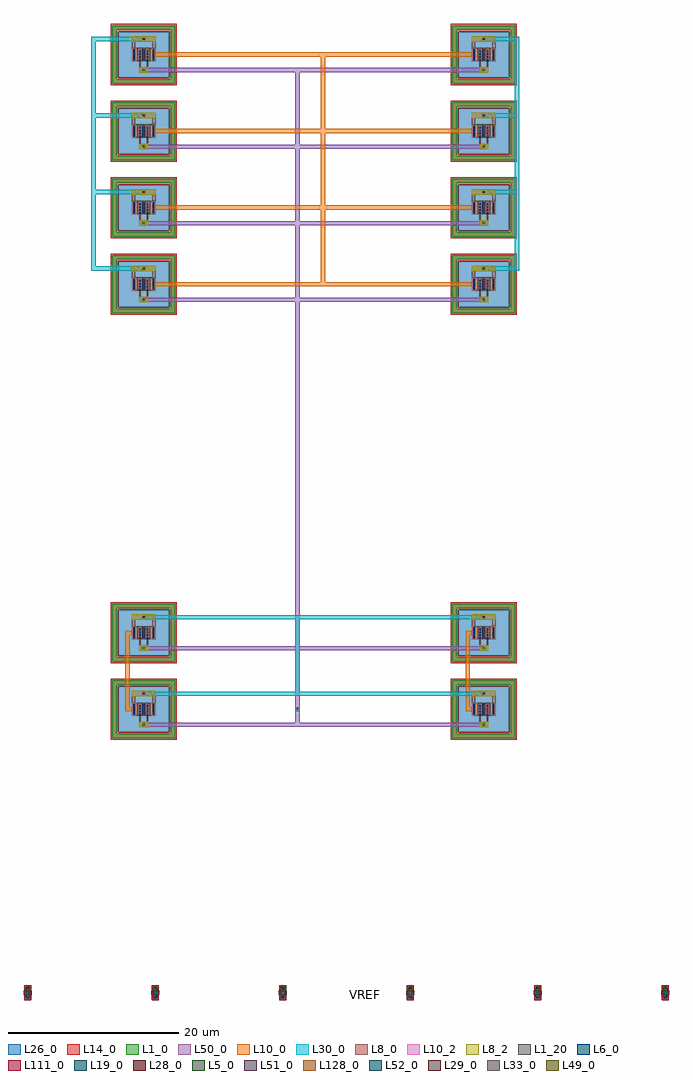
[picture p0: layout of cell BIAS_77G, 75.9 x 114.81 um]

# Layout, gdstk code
import gdstk
lib = gdstk.Library(unit=1e-6, precision=1e-09)
def R(c, l, rs):  # rectangles x0, y0, x1, y1
    for r in rs: c.add(gdstk.rectangle(r[:2], r[2:], *l))
def A(c, l, x, y, w, h, nx, ny, dx, dy):  # array of equal rectangles
    R(c, l, [(x+i*dx, y+j*dy, x+i*dx+w, y+j*dy+h) for i in range(nx) for j in range(ny)])
def P(c, l, *ps):  # polygons
    for p in ps: c.add(gdstk.Polygon(p, *l))
L1_0 = (1, 0)
L1_20 = (1, 20)
L5_0 = (5, 0)
L6_0 = (6, 0)
L8_0 = (8, 0)
L8_2 = (8, 2)
L10_0 = (10, 0)
L10_2 = (10, 2)
L14_0 = (14, 0)
L19_0 = (19, 0)
L26_0 = (26, 0)
L28_0 = (28, 0)
L29_0 = (29, 0)
L30_0 = (30, 0)
L33_0 = (33, 0)
L49_0 = (49, 0)
L50_0 = (50, 0)
L51_0 = (51, 0)
L52_0 = (52, 0)
L111_0 = (111, 0)
L128_0 = (128, 0)

npn13g2l = lib.new_cell('npn13G2L')
R(npn13g2l, L1_0, [(2.5,2.82,3.16,4.38), (3.77,2.82,4.03,4.38), (4.64,2.82,5.3,4.38)])
P(npn13g2l, L1_0, [(0.2,0.2),(0.2,7),(7.1,7),(7.1,6.5),(0.7,6.5),(0.7,0.7),(7.1,0.7),(7.1,7),(7.6,7),(7.6,0.2)])
R(npn13g2l, L1_20, [(3.16,2.82,3.77,4.38), (4.03,2.82,4.64,4.38)])
A(npn13g2l, L6_0, 3.385, 2.89, 0.16, 0.16, 1, 4, 0, 0.34)
A(npn13g2l, L6_0, 4.255, 2.89, 0.16, 0.16, 1, 4, 0, 0.34)
A(npn13g2l, L6_0, 2.68, 2.95, 0.16, 1.3, 3, 1, 1.14, 0)
R(npn13g2l, L8_0, [(3.385,1.45,4.415,2.1), (3.385,2.1,3.545,4.38), (4.255,2.1,4.415,4.38), (2.5,2.82,2.89,5.1), (4.91,2.82,5.3,5.1), (3.77,2.9,4.03,4.3), (2.5,5.1,5.3,5.75)])
R(npn13g2l, L8_2, [(3.385,1.45,4.415,2.1), (2.5,5.1,5.3,5.75)])
R(npn13g2l, L10_0, [(2.5,2.9,5.3,4.3)])
R(npn13g2l, L10_2, [(2.5,2.9,5.3,4.3)])
P(npn13g2l, L14_0, [(0,0),(0,7.2),(6.9,7.2),(6.9,6.3),(0.9,6.3),(0.9,0.9),(6.9,0.9),(6.9,7.2),(7.8,7.2),(7.8,0)])
R(npn13g2l, L19_0, [(3.805,3,3.995,4.2)])
R(npn13g2l, L26_0, [(0.9,0.9,6.9,6.3)])
R(npn13g2l, L33_0, [(3.865,3.1,3.935,4.1)])
R(npn13g2l, L51_0, [(3.815,3.05,3.985,4.15)])
npn13g2l.add(gdstk.Label('E', (3.9,3.6), layer=63, texttype=0))
npn13g2l.add(gdstk.Label('B', (3.9,1.775), layer=63, texttype=0))
npn13g2l.add(gdstk.Label('C', (3.9,5.425), layer=63, texttype=0))
npn13g2l.add(gdstk.Label('npn13G2L', (1.75,1), layer=63, texttype=0))
npn13g2l.add(gdstk.Label('Ae=1*1*1.00*0.07', (1.5,1), layer=63, texttype=0))
npn13g2l.add(gdstk.Label('npn13G2L', (3.9,3.6), layer=51, texttype=0))

rppd = lib.new_cell('rppd')
R(rppd, L5_0, [(0,-0.43,0.5,-0.2), (0,-0.2,0.5,0), (0,0.5,0.5,0.7), (0,0.7,0.5,0.93)])
R(rppd, L6_0, [(0.07,-0.36,0.43,-0.2), (0.07,0.7,0.43,0.86)])
R(rppd, L8_0, [(0.02,-0.43,0.48,-0.13), (0.02,0.63,0.48,0.93)])
R(rppd, L8_2, [(0.02,-0.43,0.48,-0.13), (0.02,0.63,0.48,0.93)])
R(rppd, L14_0, [(-0.18,-0.61,0.68,0), (-0.18,0,0.68,0.5), (-0.18,0.5,0.68,1.11)])
R(rppd, L28_0, [(-0.2,0,0.7,0.5)])
R(rppd, L52_0, [(0,0,0.5,0.5)])
R(rppd, L111_0, [(-0.18,-0.61,0.68,0), (-0.2,0,0.7,0.5), (-0.18,0.5,0.68,1.11)])
R(rppd, L128_0, [(0,0,0.5,0.5)])
rppd.add(gdstk.Label('rppd r=396.917', (0.25,0.25), layer=63, texttype=0))
rppd.add(gdstk.Label('rppd', (0.25,0.25), layer=52, texttype=0))

bias_77g = lib.new_cell('BIAS_77G')
R(bias_77g, L8_0, [(48.65,71.525,49.15,72.025), (88.65,71.525,89.15,72.025), (48.65,75.175,49.15,75.675), (88.65,75.175,89.15,75.675), (48.65,80.525,49.15,81.025), (88.65,80.525,89.15,81.025), (48.65,84.175,49.15,84.675), (88.65,84.175,89.15,84.675), (48.65,121.525,49.15,122.025), (88.65,121.525,89.15,122.025), (48.65,125.175,49.15,125.675), (88.65,125.175,89.15,125.675), (48.65,130.525,49.15,131.025), (88.65,130.525,89.15,131.025), (48.65,134.175,49.15,134.675), (88.65,134.175,89.15,134.675), (48.65,139.525,49.15,140.025), (88.65,139.525,89.15,140.025), (48.65,143.175,49.15,143.675), (88.65,143.175,89.15,143.675), (48.65,148.525,49.15,149.025), (88.65,148.525,89.15,149.025), (48.65,152.175,49.15,152.675), (88.65,152.175,89.15,152.675)])
A(bias_77g, L10_0, 48.65, 123.35, 21.6, 0.5, 1, 4, 0, 9)
A(bias_77g, L10_0, 69.75, 123.35, 19.4, 0.5, 1, 4, 0, 9)
R(bias_77g, L10_0, [(48.65,71.525,49.15,72.025), (48.65,71.525,49.15,72.025), (88.65,71.525,89.15,72.025), (88.65,71.525,89.15,72.025), (46.75,73.35,49.15,73.85), (46.75,73.35,47.25,82.85), (86.75,73.35,89.15,73.85), (86.75,73.35,87.25,82.85), (48.65,75.175,49.15,75.675), (48.65,75.175,49.15,75.675), (88.65,75.175,89.15,75.675), (88.65,75.175,89.15,75.675), (48.65,80.525,49.15,81.025), (48.65,80.525,49.15,81.025), (88.65,80.525,89.15,81.025), (88.65,80.525,89.15,81.025), (46.75,82.35,49.15,82.85), (86.75,82.35,89.15,82.85), (48.65,84.175,49.15,84.675), (48.65,84.175,49.15,84.675), (88.65,84.175,89.15,84.675), (88.65,84.175,89.15,84.675), (48.65,121.525,49.15,122.025), (48.65,121.525,49.15,122.025), (88.65,121.525,89.15,122.025), (88.65,121.525,89.15,122.025), (69.75,123.35,70.25,150.85), (48.65,125.175,49.15,125.675), (48.65,125.175,49.15,125.675), (88.65,125.175,89.15,125.675), (88.65,125.175,89.15,125.675), (48.65,130.525,49.15,131.025), (48.65,130.525,49.15,131.025), (88.65,130.525,89.15,131.025), (88.65,130.525,89.15,131.025), (48.65,134.175,49.15,134.675), (48.65,134.175,49.15,134.675), (88.65,134.175,89.15,134.675), (88.65,134.175,89.15,134.675), (48.65,139.525,49.15,140.025), (48.65,139.525,49.15,140.025), (88.65,139.525,89.15,140.025), (88.65,139.525,89.15,140.025), (48.65,143.175,49.15,143.675), (48.65,143.175,49.15,143.675), (88.65,143.175,89.15,143.675), (88.65,143.175,89.15,143.675), (48.65,148.525,49.15,149.025), (48.65,148.525,49.15,149.025), (88.65,148.525,89.15,149.025), (88.65,148.525,89.15,149.025), (48.65,152.175,49.15,152.675), (48.65,152.175,49.15,152.675), (88.65,152.175,89.15,152.675), (88.65,152.175,89.15,152.675)])
R(bias_77g, L19_0, [(48.805,71.68,48.995,71.87), (88.805,71.68,88.995,71.87), (48.805,75.33,48.995,75.52), (88.805,75.33,88.995,75.52), (48.805,80.68,48.995,80.87), (88.805,80.68,88.995,80.87), (48.805,84.33,48.995,84.52), (88.805,84.33,88.995,84.52), (48.805,121.68,48.995,121.87), (88.805,121.68,88.995,121.87), (48.805,125.33,48.995,125.52), (88.805,125.33,88.995,125.52), (48.805,130.68,48.995,130.87), (88.805,130.68,88.995,130.87), (48.805,134.33,48.995,134.52), (88.805,134.33,88.995,134.52), (48.805,139.68,48.995,139.87), (88.805,139.68,88.995,139.87), (48.805,143.33,48.995,143.52), (88.805,143.33,88.995,143.52), (48.805,148.68,48.995,148.87), (88.805,148.68,88.995,148.87), (48.805,152.33,48.995,152.52), (88.805,152.33,88.995,152.52)])
R(bias_77g, L29_0, [(48.805,71.68,48.995,71.87), (88.805,71.68,88.995,71.87), (48.805,75.33,48.995,75.52), (88.805,75.33,88.995,75.52), (48.805,80.68,48.995,80.87), (88.805,80.68,88.995,80.87), (48.805,84.33,48.995,84.52), (88.805,84.33,88.995,84.52), (48.805,121.68,48.995,121.87), (88.805,121.68,88.995,121.87), (48.805,125.33,48.995,125.52), (88.805,125.33,88.995,125.52), (48.805,130.68,48.995,130.87), (88.805,130.68,88.995,130.87), (48.805,134.33,48.995,134.52), (88.805,134.33,88.995,134.52), (48.805,139.68,48.995,139.87), (88.805,139.68,88.995,139.87), (48.805,143.33,48.995,143.52), (88.805,143.33,88.995,143.52), (48.805,148.68,48.995,148.87), (88.805,148.68,88.995,148.87), (48.805,152.33,48.995,152.52), (88.805,152.33,88.995,152.52)])
A(bias_77g, L30_0, 42.75, 125.175, 6.4, 0.5, 1, 4, 0, 9)
A(bias_77g, L30_0, 88.65, 125.175, 4.4, 0.5, 1, 4, 0, 9)
R(bias_77g, L30_0, [(48.65,71.525,49.15,72.025), (48.65,71.525,49.15,72.025), (88.65,71.525,89.15,72.025), (88.65,71.525,89.15,72.025), (66.75,73.35,67.25,73.85), (48.65,75.175,49.15,75.675), (48.65,75.175,67.25,75.675), (66.75,75.175,89.15,75.675), (66.75,75.175,67.25,84.675), (88.65,75.175,89.15,75.675), (48.65,80.525,49.15,81.025), (48.65,80.525,49.15,81.025), (88.65,80.525,89.15,81.025), (88.65,80.525,89.15,81.025), (48.65,84.175,49.15,84.675), (48.65,84.175,67.25,84.675), (66.75,84.175,89.15,84.675), (88.65,84.175,89.15,84.675), (48.65,121.525,49.15,122.025), (48.65,121.525,49.15,122.025), (88.65,121.525,89.15,122.025), (88.65,121.525,89.15,122.025), (42.75,125.175,43.25,152.675), (48.65,125.175,49.15,125.675), (88.65,125.175,89.15,125.675), (92.55,125.175,93.05,152.675), (48.65,130.525,49.15,131.025), (48.65,130.525,49.15,131.025), (88.65,130.525,89.15,131.025), (88.65,130.525,89.15,131.025), (48.65,134.175,49.15,134.675), (88.65,134.175,89.15,134.675), (48.65,139.525,49.15,140.025), (48.65,139.525,49.15,140.025), (88.65,139.525,89.15,140.025), (88.65,139.525,89.15,140.025), (48.65,143.175,49.15,143.675), (88.65,143.175,89.15,143.675), (48.65,148.525,49.15,149.025), (48.65,148.525,49.15,149.025), (88.65,148.525,89.15,149.025), (88.65,148.525,89.15,149.025), (48.65,152.175,49.15,152.675), (88.65,152.175,89.15,152.675)])
A(bias_77g, L49_0, 48.805, 121.68, 0.19, 0.19, 1, 4, 0, 9)
A(bias_77g, L49_0, 88.805, 121.68, 0.19, 0.19, 1, 4, 0, 9)
R(bias_77g, L49_0, [(48.805,71.68,48.995,71.87), (88.805,71.68,88.995,71.87), (66.905,73.505,67.095,73.695), (48.805,80.68,48.995,80.87), (88.805,80.68,88.995,80.87)])
A(bias_77g, L50_0, 48.65, 121.525, 0.5, 0.5, 1, 4, 0, 9)
A(bias_77g, L50_0, 48.65, 121.525, 18.6, 0.5, 1, 4, 0, 9)
A(bias_77g, L50_0, 66.75, 121.525, 22.4, 0.5, 1, 4, 0, 9)
A(bias_77g, L50_0, 88.65, 121.525, 0.5, 0.5, 1, 4, 0, 9)
R(bias_77g, L50_0, [(48.65,71.525,49.15,72.025), (48.65,71.525,67.25,72.025), (66.75,71.525,89.15,72.025), (66.75,71.525,67.25,81.025), (66.75,71.525,67.25,149.025), (88.65,71.525,89.15,72.025), (66.75,73.35,67.25,73.85), (48.65,80.525,49.15,81.025), (48.65,80.525,67.25,81.025), (66.75,80.525,89.15,81.025), (88.65,80.525,89.15,81.025), (66.75,121.525,67.25,149.025)])
bias_77g.add(gdstk.Reference(npn13g2l, (45,70)))
bias_77g.add(gdstk.Reference(npn13g2l, (45,79)))
bias_77g.add(gdstk.Reference(npn13g2l, (85,70)))
bias_77g.add(gdstk.Reference(npn13g2l, (85,79)))
bias_77g.add(gdstk.Reference(npn13g2l, (45,120)))
bias_77g.add(gdstk.Reference(npn13g2l, (45,129)))
bias_77g.add(gdstk.Reference(npn13g2l, (45,138)))
bias_77g.add(gdstk.Reference(npn13g2l, (45,147)))
bias_77g.add(gdstk.Reference(npn13g2l, (85,120)))
bias_77g.add(gdstk.Reference(npn13g2l, (85,129)))
bias_77g.add(gdstk.Reference(npn13g2l, (85,138)))
bias_77g.add(gdstk.Reference(npn13g2l, (85,147)))
bias_77g.add(gdstk.Reference(rppd, (35,40)))
bias_77g.add(gdstk.Reference(rppd, (50,40)))
bias_77g.add(gdstk.Reference(rppd, (65,40)))
bias_77g.add(gdstk.Reference(rppd, (80,40)))
bias_77g.add(gdstk.Reference(rppd, (95,40)))
bias_77g.add(gdstk.Reference(rppd, (110,40)))
bias_77g.add(gdstk.Label('VREF', (75,40), layer=30, texttype=0))
bias_77g.add(gdstk.Label('IBIAS', (75,170), layer=30, texttype=0))

lib.write_gds('BIAS_77G.gds')
